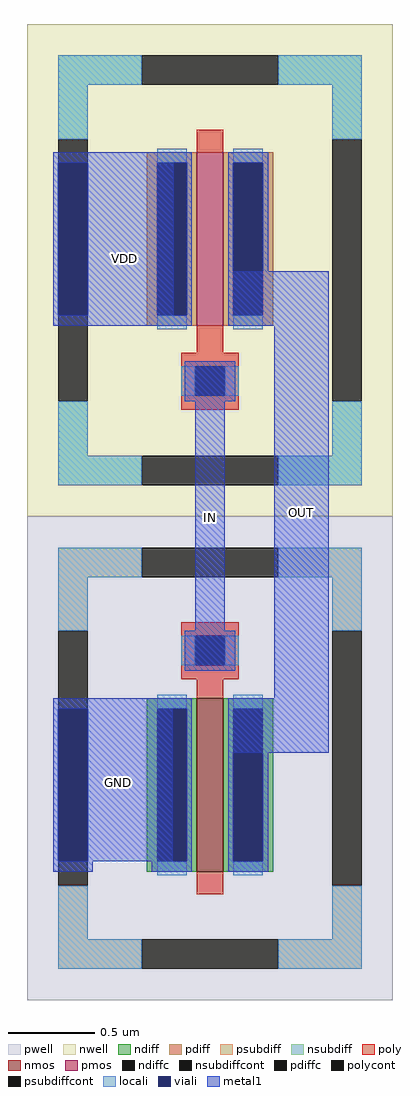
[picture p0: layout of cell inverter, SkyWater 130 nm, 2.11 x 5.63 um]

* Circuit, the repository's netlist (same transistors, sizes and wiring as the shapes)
** sch_path: /home/surya/inverter/inverter.sch
.subckt inverter vdd in gnd out
*.PININFO vdd:I in:I gnd:I out:O
XM1 out in gnd gnd sky130_fd_pr__nfet_01v8 L=0.15 W=1 nf=1 m=1
XM2 out in vdd vdd sky130_fd_pr__pfet_01v8 L=0.15 W=1 nf=1 m=1
.ends
.end

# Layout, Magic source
magic
tech sky130A
magscale 1 2
<< viali >>
rect 57 202 91 378
rect 57 -428 91 -252
<< metal1 >>
rect 51 378 190 390
rect 51 202 57 378
rect 91 202 190 378
rect 51 190 190 202
rect 257 190 369 253
rect 215 -202 249 143
rect 306 -240 369 190
rect 51 -252 188 -240
rect 51 -428 57 -252
rect 91 -428 189 -252
rect 253 -303 369 -240
rect 51 -440 97 -428
use sky130_fd_pr__pfet_01v8_LGS3BL  XM1
transform 1 0 232 0 1 254
box -211 -284 211 284
use sky130_fd_pr__nfet_01v8_64Z3AY  XM2
transform 1 0 232 0 1 -309
box -211 -279 211 279
<< labels >>
flabel metal1 133 267 133 267 0 FreeSans 160 0 0 0 VDD
port 1 nsew
flabel metal1 127 -337 127 -337 0 FreeSans 160 0 0 0 GND
port 2 nsew
flabel metal1 338 -26 338 -26 0 FreeSans 160 0 0 0 OUT
port 3 nsew
flabel metal1 233 -31 233 -31 0 FreeSans 160 0 0 0 IN
port 4 nsew
<< end >>

# cell sky130_fd_pr__pfet_01v8_LGS3BL: kit device sky130_fd_pr__pfet_01v8, w 1.0 l 0.15 m 1 nf 1 diffcov 100 polycov 100 guard 1 glc 1 grc 1 gtc 1 gbc 1 tbcov 100 rlcov 100 topc 0 botc 1 poverlap 0 doverlap 1 lmin 0.15 wmin 0.42 compatible {sky130_fd_pr__pfet_01v8 sky130_fd_pr__pfet_01v8_lvt sky130_fd_pr__pfet_01v8_hvt sky130_fd_pr__pfet_g5v0d10v5} full_metal 1 viasrc 100 viadrn 100 viagate 100 viagb 0 viagr 0 viagl 0 viagt 0

# cell sky130_fd_pr__nfet_01v8_64Z3AY: kit device sky130_fd_pr__nfet_01v8, w 1.0 l 0.15 m 1 nf 1 diffcov 100 polycov 100 guard 1 glc 1 grc 1 gtc 1 gbc 1 tbcov 100 rlcov 100 topc 1 botc 0 poverlap 0 doverlap 1 lmin 0.15 wmin 0.42 compatible {sky130_fd_pr__nfet_01v8 sky130_fd_pr__nfet_01v8_lvt sky130_fd_bs_flash__special_sonosfet_star sky130_fd_pr__nfet_g5v0d10v5 sky130_fd_pr__nfet_05v0_nvt sky130_fd_pr__nfet_03v3_nvt} full_metal 1 viasrc 100 viadrn 100 viagate 100 viagb 0 viagr 0 viagl 0 viagt 0
